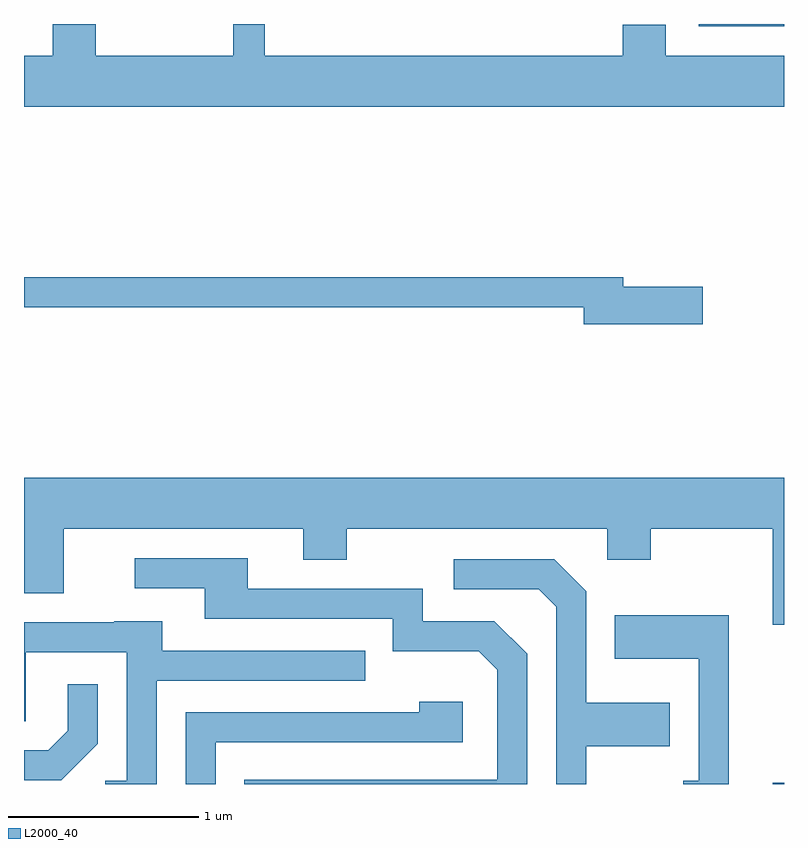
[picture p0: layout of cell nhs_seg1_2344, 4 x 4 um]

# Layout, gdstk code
import gdstk
lib = gdstk.Library(unit=1e-6, precision=1e-09)
def R(c, l, rs):  # rectangles x0, y0, x1, y1
    for r in rs: c.add(gdstk.rectangle(r[:2], r[2:], *l))
def P(c, l, *ps):  # polygons
    for p in ps: c.add(gdstk.Polygon(p, *l))
L2000_40 = (2000, 40)

nhs_seg1_2344 = lib.new_cell('nhs_seg1_2344')
R(nhs_seg1_2344, L2000_40, [(259.551,973.712,259.611,973.719), (259.161,977.701,259.611,977.712)])
P(nhs_seg1_2344, L2000_40, [(259.611,977.544),(258.989,977.544),(258.989,977.709),(258.761,977.709),(258.761,977.544),(256.879,977.544),(256.879,977.712),(256.711,977.712),(256.711,977.544),(255.989,977.544),(255.989,977.712),(255.761,977.712),(255.761,977.544),(255.611,977.544),(255.611,977.276),(259.611,977.276)],
  [(259.184,976.329),(258.764,976.329),(258.764,976.379),(255.611,976.379),(255.611,976.221),(258.556,976.221),(258.556,976.131),(259.184,976.131)],
  [(259.611,975.324),(255.611,975.324),(255.611,974.716),(255.819,974.716),(255.819,975.056),(257.081,975.056),(257.081,974.891),(257.309,974.891),(257.309,975.056),(258.681,975.056),(258.681,974.891),(258.909,974.891),(258.909,975.056),(259.551,975.056),(259.551,974.551),(259.611,974.551)],
  [(258.259,974.397),(258.087,974.569),(257.709,974.569),(257.709,974.739),(256.789,974.739),(256.789,974.899),(256.193,974.899),(256.193,974.741),(256.561,974.741),(256.561,974.581),(257.551,974.581),(257.551,974.411),(258.004,974.411),(258.101,974.314),(258.101,973.734),(256.771,973.734),(256.771,973.712),(258.259,973.712)],
  [(258.569,973.911),(259.009,973.911),(259.009,974.139),(258.569,974.139),(258.569,974.727),(258.402,974.894),(257.873,974.894),(257.873,974.736),(258.319,974.736),(258.411,974.644),(258.411,973.712),(258.569,973.712)],
  [(259.319,974.599),(258.721,974.599),(258.721,974.371),(259.161,974.371),(259.161,973.729),(259.082,973.729),(259.082,973.712),(259.319,973.712)],
  [(256.309,974.256),(257.408,974.256),(257.408,974.414),(256.339,974.414),(256.339,974.569),(256.085,974.569),(256.085,974.564),(255.611,974.564),(255.611,974.041),(255.619,974.041),(255.619,974.406),(256.151,974.406),(256.151,973.729),(256.038,973.729),(256.038,973.712),(256.309,973.712)],
  [(255.999,973.924),(255.999,974.238),(255.841,974.238),(255.841,973.992),(255.739,973.889),(255.611,973.889),(255.611,973.731),(255.807,973.731)],
  [(256.619,973.931),(257.919,973.931),(257.919,974.144),(257.691,974.144),(257.691,974.089),(256.461,974.089),(256.461,973.712),(256.619,973.712)])

lib.write_gds('nhs_seg1_2344.gds')
